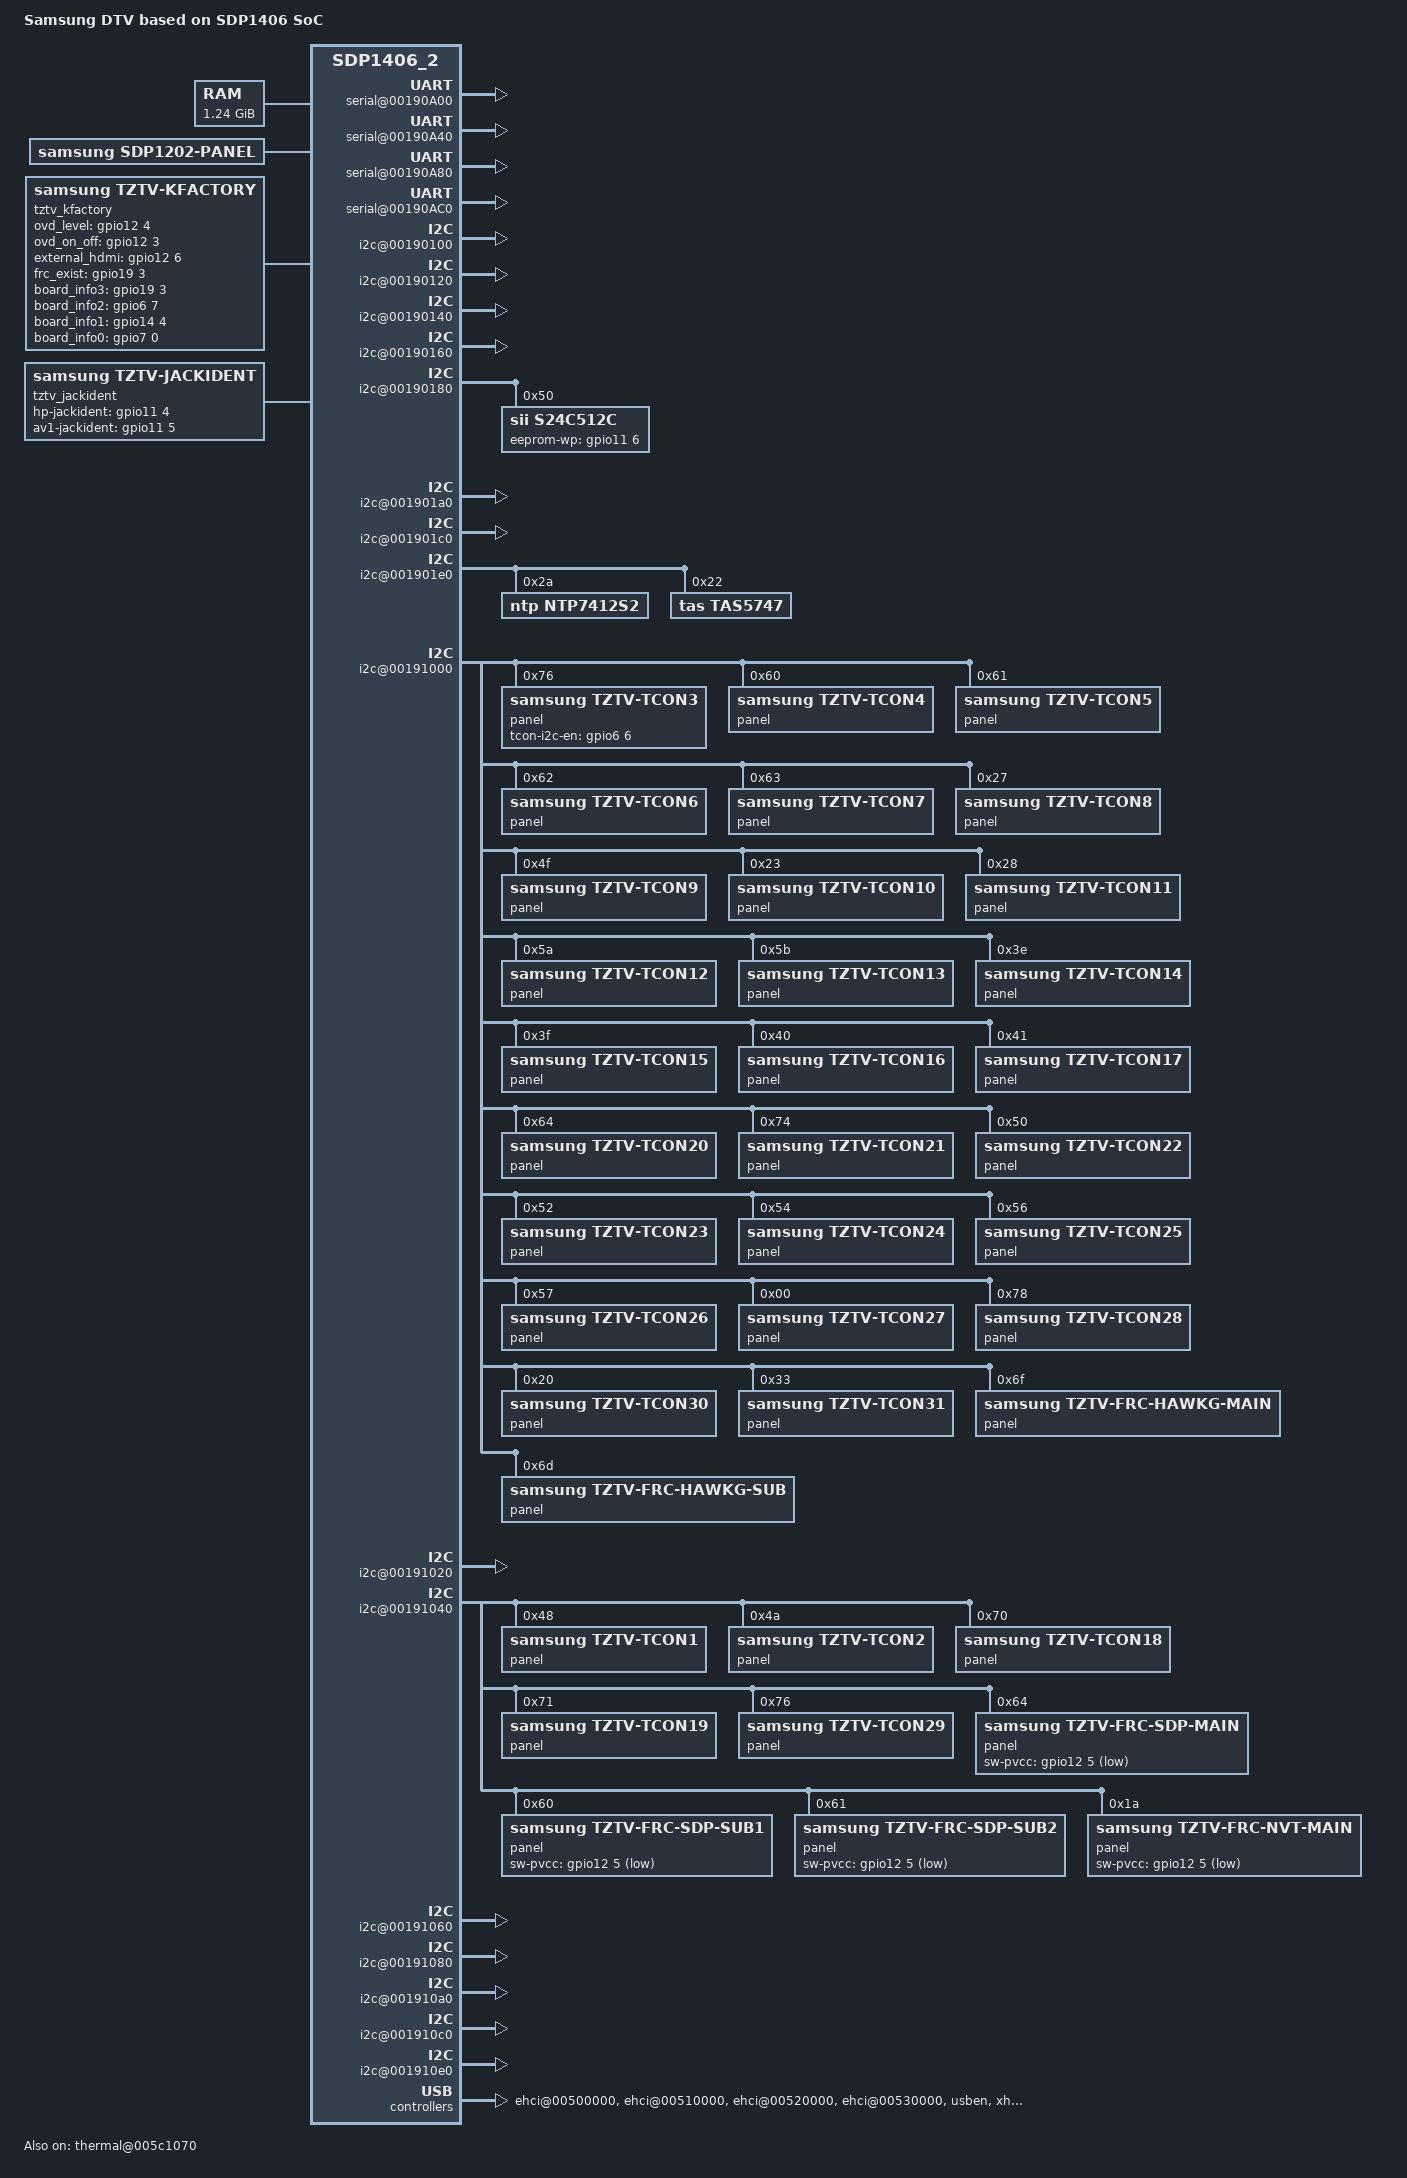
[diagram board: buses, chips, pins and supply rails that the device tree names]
/*
 * Copyright (C) 2014 Samsung Electronics Co.Ltd
 *
 * This program is free software; you can redistribute it and/or modify
 * it under the terms of the GNU General Public License version 2 as
 * published by the Free Software Foundation.
 */

/dts-v1/;
#include "sdp1406.dtsi"

/ {
	model = "Samsung DTV based on SDP1406 SoC";
	compatible = "samsung,dtv", "samsung,sdp1406", "samsung,sdp1406_2";

	memory {
		device_type = "memory";
		reg =  <0x20000000 0x10800000>, <0x40000000 0xC000000>, <0x82800000 0x33000000>;
	};

	chosen {
		bootargs = __STR__(dtsversion=__DTS_VERSION__ root=/dev/mmcblk0p22 init=/sbin/init rootfstype=vdfs RO_PARAM console=ttyS0,115200N8 SELP_ENABLE=00000000 rootwait no_console_suspend earlyprintk sdp_sparsemem vmalloc=550M QUIET_PARAM TRACING_PARAM ROOT_PARAM);
	};

	fixed-rate-clocks {
		fin {
			compatible = "samsung,sdp-clock-fin";
			clock-frequency = <24576000>;
		};
	};

	mmc {
		hs200;
		hs200-tuning;
//		hs400;
	};

	serial@00190A00 {
		status = "okay";
	};

	serial@00190A40 {
		status = "okay";
	};

	serial@00190A80 {
		status = "okay";
	};

	serial@00190AC0 {
		compatible = "samsung,sdp1304-uart-micom";
		status = "okay";
	};

	pinctrl{
		compatible = "samsung,sdp-pinctrl";
		reg = <0x005C1000 0x230>;
		start-offset = <0x118>;
		nr-banks = <23>;
		model-sel = <1>;
	};

	i2c@00190100 {
		status = "okay";
		samsung,i2c-sda-delay = <1>;
		samsung,i2c-max-bus-freq = <400000>;
		samsung,i2c-irq-status-reg = <0x001901f4>;
		samsung,i2c-cpu-affinity = <3>;
	};

	i2c@00190120 {
		status = "okay";
		samsung,i2c-sda-delay = <1>;
		samsung,i2c-max-bus-freq = <400000>;
		samsung,i2c-irq-status-reg = <0x001901f4>;
		samsung,i2c-cpu-affinity = <3>;
	};

	i2c@00190140 {
		status = "okay";
		samsung,i2c-sda-delay = <1>;
		samsung,i2c-max-bus-freq = <400000>;
		samsung,i2c-irq-status-reg = <0x001901f4>;
		samsung,i2c-cpu-affinity = <3>;
	};

	i2c@00190160 {
		status = "okay";
		samsung,i2c-sda-delay = <1>;
		samsung,i2c-max-bus-freq = <400000>;
		samsung,i2c-irq-status-reg = <0x001901f4>;
		samsung,i2c-cpu-affinity = <3>;
	};

	i2c@00190180 {
		status = "okay";
		samsung,i2c-sda-delay = <1>;
		samsung,i2c-max-bus-freq = <400000>;
		samsung,i2c-irq-status-reg = <0x001901f4>;
		samsung,i2c-cpu-affinity = <3>;
                s24c512c@50 {
                        compatible = "sii,s24c512c";
                        reg = <0x50>;
                        samsung,eeprom-wp = <&gpio11 6 0>;
                };
	};

	i2c@001901a0 {
		status = "okay";
		samsung,i2c-sda-delay = <1>;
		samsung,i2c-max-bus-freq = <400000>;
		samsung,i2c-irq-status-reg = <0x001901f4>;
		samsung,i2c-cpu-affinity = <3>;
	};

	i2c@001901c0 {
		status = "okay";
		samsung,i2c-sda-delay = <1>;
		samsung,i2c-max-bus-freq = <400000>;
		samsung,i2c-irq-status-reg = <0x001901f4>;
		samsung,i2c-cpu-affinity = <3>;
	};

	i2c@001901e0 {
		status = "okay";
		samsung,i2c-sda-delay = <1>;
		samsung,i2c-max-bus-freq = <400000>;
		samsung,i2c-irq-status-reg = <0x001901f4>;
		samsung,i2c-cpu-affinity = <3>;

		ntp7412s2@2A {
			compatible = "ntp,ntp7412s2";
			reg = <0x2A>;
		};

		tas5747@22 {
			compatible = "tas,tas5747";
			reg = <0x22>;
		};
	};

	i2c@00191000 {
		status = "okay";
		samsung,i2c-sda-delay = <1>;
		samsung,i2c-max-bus-freq = <400000>;
		samsung,i2c-irq-status-reg = <0x001910f4>;
		samsung,i2c-cpu-affinity = <3>;
		/* panel 0xEC */
		panel@76 {
			compatible = "samsung,tztv-tcon3";
			samsung,tcon-i2c-en = <&gpio6 6 0>;
			reg = <0x76>;
		};

		/* panel 0xC0 */
		panel@60 {
			compatible = "samsung,tztv-tcon4";
			reg = <0x60>;
		};

		/* panel 0xC2 */
		panel@61 {
			compatible = "samsung,tztv-tcon5";
			reg = <0x61>;
		};

		/* panel 0xC4 */
		panel@62 {
			compatible = "samsung,tztv-tcon6";
			reg = <0x62>;
		};

		/* panel 0xC6 */
		panel@63 {
			compatible = "samsung,tztv-tcon7";
			reg = <0x63>;
		};

		/* panel 0x4E */
		panel@27 {
			compatible = "samsung,tztv-tcon8";
			reg = <0x27>;
		};

		/* panel 0x9E */
		panel@4F {
			compatible = "samsung,tztv-tcon9";
			reg = <0x4F>;
		};

		/* panel 0x46 */
		panel@23 {
			compatible = "samsung,tztv-tcon10";
			reg = <0x23>;
		};

		/* panel 0x50 */
		panel@28 {
			compatible = "samsung,tztv-tcon11";
			reg = <0x28>;
		};

		/* panel 0xB4 */
		panel@5A {
			compatible = "samsung,tztv-tcon12";
			reg = <0x5A>;
		};

		/* panel 0xB6 */
		panel@5B {
			compatible = "samsung,tztv-tcon13";
			reg = <0x5B>;
		};

		/* panel 0x7C */
		panel@3E {
			compatible = "samsung,tztv-tcon14";
			reg = <0x3E>;
		};

		/* panel 0x7E */
		panel@3F {
			compatible = "samsung,tztv-tcon15";
			reg = <0x3F>;
		};

		/* panel 0x80 */
		panel@40 {
			compatible = "samsung,tztv-tcon16";
			reg = <0x40>;
		};

		/* panel 0x82 */
		panel@41 {
			compatible = "samsung,tztv-tcon17";
			reg = <0x41>;
		};

		/* panel 0xC8 */
		panel@64 {
			compatible = "samsung,tztv-tcon20";
			reg = <0x64>;
		};

		/* panel 0xE8 */
		panel@74 {
			compatible = "samsung,tztv-tcon21";
			reg = <0x74>;
		};

		/* panel 0xA0 */
		panel@50 {
			compatible = "samsung,tztv-tcon22";
			reg = <0x50>;
		};

		/* panel 0xA4 */
		panel@52 {
			compatible = "samsung,tztv-tcon23";
			reg = <0x52>;
		};

		/* panel 0xA8 */
		panel@54 {
			compatible = "samsung,tztv-tcon24";
			reg = <0x54>;
		};

		/* panel 0xAC */
		panel@56 {
			compatible = "samsung,tztv-tcon25";
			reg = <0x56>;
		};

		/* panel 0xAE */
		panel@57 {
			compatible = "samsung,tztv-tcon26";
			reg = <0x57>;
		};

		/* panel 0x00 */
		panel@00 {
			compatible = "samsung,tztv-tcon27";
			reg = <0x00>;
		};

		/* panel 0xF0 */
		panel@78 {
			compatible = "samsung,tztv-tcon28";
			reg = <0x78>;
		};

		/* panel 0x40 */
		panel@20 {
			compatible = "samsung,tztv-tcon30";
			reg = <0x20>;
		};

		/* panel 0x66 */
		panel@33 {
			compatible = "samsung,tztv-tcon31";
			reg = <0x33>;
		};

		/* panel 0xDE */
		panel@6F {
			compatible = "samsung,tztv-frc-hawkg-main";
			reg = <0x6F>;
		};

		/* panel 0xDA */
		panel@6D {
			compatible = "samsung,tztv-frc-hawkg-sub";
			reg = <0x6D>;
		};
	};

	i2c@00191020 {
		status = "okay";
		samsung,i2c-sda-delay = <1>;
		samsung,i2c-max-bus-freq = <400000>;
		samsung,i2c-irq-status-reg = <0x001910f4>;
		samsung,i2c-pad-enable = <0x005C1040 0x800000>;
		samsung,i2c-cpu-affinity = <3>;
	};

	i2c@00191040 {
		status = "okay";
		samsung,i2c-sda-delay = <1>;
		samsung,i2c-max-bus-freq = <400000>;
		samsung,i2c-irq-status-reg = <0x001910f4>;
	//	samsung,i2c-pad-enable = <0x10030000 0x80000000>;// Mux HS
		samsung,i2c-cpu-affinity = <3>;

		/* panel 0x90 */
		panel@48 {
			compatible = "samsung,tztv-tcon1";
			reg = <0x48>;
		};

		/* panel 0x94 */
		panel@4A {
			compatible = "samsung,tztv-tcon2";
			reg = <0x4A>;
		};

		/* panel 0xE0 */
		panel@70 {
			compatible = "samsung,tztv-tcon18";
			reg = <0x70>;
		};

		/* panel 0xE2 */
		panel@71 {
			compatible = "samsung,tztv-tcon19";
			reg = <0x71>;
		};

		/* panel 0xEC DUAL */
		panel@76 {
			compatible = "samsung,tztv-tcon29";
			reg = <0x76>;
		};

		/* panel C8 */
		panel@64 {
			compatible = "samsung,tztv-frc-sdp-main";
			samsung,sw-pvcc = <&gpio12 5 1>;
			reg = <0x64>;
		};

		/* panel C0 SUB */
		panel@60 {
			compatible = "samsung,tztv-frc-sdp-sub1";
			samsung,sw-pvcc = <&gpio12 5 1>;
			reg = <0x60>;
		};

		/* panel C2 SUB */
		panel@61 {
			compatible = "samsung,tztv-frc-sdp-sub2";
			samsung,sw-pvcc = <&gpio12 5 1>;
			 reg = <0x61>;
		};

		/* panel 34 */
		panel@1A {
			compatible = "samsung,tztv-frc-nvt-main";
			samsung,sw-pvcc = <&gpio12 5 1>;
			 reg = <0x1A>;
		};
	};

	i2c@00191060 {
		status = "okay";
		samsung,i2c-sda-delay = <1>;
		samsung,i2c-max-bus-freq = <400000>;
		samsung,i2c-irq-status-reg = <0x001910f4>;
		samsung,i2c-pad-enable = <0x005C1040 0x1000000>;
		samsung,i2c-cpu-affinity = <3>;
	};

	i2c@00191080 {
		status = "okay";
		samsung,i2c-sda-delay = <1>;
		samsung,i2c-max-bus-freq = <400000>;
		samsung,i2c-irq-status-reg = <0x001910f4>;
		samsung,i2c-pad-enable = <0x005C1040 0x2000000>;
		samsung,i2c-cpu-affinity = <3>;
	};

	i2c@001910a0 {
		status = "okay";
		samsung,i2c-sda-delay = <1>;
		samsung,i2c-max-bus-freq = <400000>;
		samsung,i2c-irq-status-reg = <0x001910f4>;
		samsung,i2c-cpu-affinity = <3>;
	};

	i2c@001910c0 {
		status = "okay";
		samsung,i2c-sda-delay = <1>;
		samsung,i2c-max-bus-freq = <400000>;
		samsung,i2c-irq-status-reg = <0x001910f4>;
		samsung,i2c-pad-enable = <0x005C1044 0x8000000>;
		samsung,i2c-cpu-affinity = <3>;
	};

	i2c@001910e0 {
		status = "okay";
		samsung,i2c-sda-delay = <1>;
		samsung,i2c-max-bus-freq = <400000>;
		samsung,i2c-irq-status-reg = <0x001910f4>;
		samsung,i2c-pad-enable = <0x005C1044 0x10000000>;
		samsung,i2c-cpu-affinity = <3>;

	};

	panel: panel {
		compatible = "samsung,sdp1202-panel";

	};

	dummy_panel {
		compatible = "dummy_panel";

		panel = <&panel>;

		display-timings {
			native-mode = <&timing0>;

			timing0: timing-0 {
				 clock-frequency = <0>;
				 hactive = <1920>;
				 vactive = <1080>;
				 hfront-porch = <0>;
				 hback-porch = <0>;
				 hsync-len = <0>;
				 vfront-porch = <0>;
				 vback-porch = <0>;
				 vsync-len = <0>;
			};
		};
	};

	ehci@00500000 {
		status = "okay";
	/*	samsung,sw-reset = <0x005C0000 0xE4 0x1000>;
		samsung,ehci-gpr_reg = <0x00540000 0x04 0x7000>;
		samsung,ehci-gpr_reg1 = <0x00540000 0x0C 0x100C0>;
		samsung,sw-reset-release = <0x005C0000 0xE4 0x1000>;*/
	};

        ehci@00510000 {
		status = "okay";
	/*	samsung,sw-reset = <0x005C0000 0xE4 0x2000>;
		samsung,ehci-gpr_reg = <0x00540000 0x18 0x7000>;
		samsung,ehci-gpr_reg1 = <0x00540000 0x20 0x100C0>;
		samsung,sw-reset-release = <0x005C0000 0xE4 0x2000>;*/
	};

	ehci@00520000 {
		status = "okay";
	/*	samsung,sw-reset = <0x005C0000 0xE4 0x4000>;
		samsung,ehci-gpr_reg = <0x00540000 0x2c 0x7000>;
		samsung,ehci-gpr_reg1 = <0x00540000 0x34 0x100C0>;
		samsung,sw-reset-release = <0x005C0000 0xE4 0x4000>;*/
	};

	ehci@00530000 {
		status = "okay";
	/*	samsung,sw-reset = <0x005C0000 0xE4 0x8000>;
		samsung,ehci-gpr_reg = <0x00540000 0x40 0x7000>;
		samsung,ehci-gpr_reg1 = <0x00540000 0x48 0x100C0>;
		samsung,sw-reset-release = <0x005C0000 0xE4 0x8000>;*/
	};

	usben {
		status = "okay";
		samsung,usb-enable = <&gpio12 7 0>;
	};

	xhci@00400000 {
		status = "okay";
	};


	ohci@00508000 {
		status = "okay";
	};

	ohci@00518000 {
		status = "okay";
	};

	ohci@00528000 {
		status = "okay";
	};

	ohci@00538000 {
		status = "okay";
	};

	thermal@005c1070 {
		status = "okay";
		compatible = "samsung,sdp-thermal";

		reg = <0x005c1070 0x30>;

		sensor_id = <0>;

		start_cold_throttle	= <40>;
		stop_cold_throttle	= <45>;
		stop_1st_throttle	= <102>;
		start_1st_throttle	= <110>;
		stop_2nd_throttle	= <112>;
		start_2nd_throttle	= <118>;
		stop_3rd_throttle	= <120>;
		start_3rd_throttle	= <125>;
		start_3rd_hotplug	= <130>;

		cpu_limit_1st_throttle	= <1000000>;
		cpu_limit_2nd_throttle	= <700000>;
		cpu_limit_3rd_throttle	= <100000>;

		gpu_limit_1st_throttle	= <185000>;
		gpu_limit_2nd_throttle	= <185000>;
		gpu_limit_3rd_throttle	= <185000>;

		log_file_path = "/tmp/ThermalThrottle.txt";
	};

	sdp_mfc@0x00a40000 {
		samsung,bus-mode = "2bus-a";
		samsung,fw-name = "sdp_mfc/ucode-mfc.fw";
		samsung,fw-size = <0x300000>;
		xmif_a_reg = <0x00F10700>;
		xmif_b_reg = <0x00F20700>;
		xmif_c_reg = <0x00F30700>;
	};

	sdp_hen@0x00ac0000 {
		samsung,fw-name = "sdp_hen/ucode-hen.fw";
		samsung,fw-size = <0x100000>;
		xmif_a_reg = <0x00F10700>;
		xmif_b_reg = <0x00F20700>;
		xmif_c_reg = <0x00F30700>;
	};

	sdp_hevc@00b40000 {
		samsung,fw-name = "sdp_hevc/ucode-hevc.fw";
		samsung,fw-size = <0x200000>;
	};

	dvb {
		compatible = "samsung,sdp-dvb";
	};

	tztv_tuner {
		compatible = "samsung,tztv-tuner";
	};

	tztv_kfactory {
		compatible = "samsung,tztv-kfactory";
		samsung,ovd_level = <&gpio12 4 0>;
		samsung,ovd_on_off = <&gpio12 3 0>;
		samsung,external_hdmi = <&gpio12 6 0>;
		samsung,frc_exist = <&gpio19 3 0>;
		samsung,board_info3 = <&gpio19 3 0>;
		samsung,board_info2 = <&gpio6 7 0>;
		samsung,board_info1 = <&gpio14 4 0>;
		samsung,board_info0 = <&gpio7 0 0>;
		samsung,board_info_ocm = <&gpio13 0 0>;
		samsung,board_info_boston = <&gpio12 6 0>;
		samsung,usb_enable = <&gpio12 7 0>;
		samsung,board_info_retimer = <&gpio13 6 0>;
		samsung,ident_cam1 = <&gpio11 2 0>;
	};

	tztv_jackident {
		compatible = "samsung,tztv-jackident";
		samsung,hp-jackident = <&gpio11 4 0>;
		samsung,av1-jackident = <&gpio11 5 0>;
	};

	sdp_uddec@00b00000 {
		samsung,bus-mode = "2bus-a";
		samsung,dram-base-a = <0x6b400000>;
		samsung,dram-base-b = <0x23000000>;
	};

	tps54627@7b {
		compatible = "regulator-sdpmicom";

		regulator-name = "CPU_PW";
		regulator-min-microvolt = <1023734>;
		regulator-max-microvolt = <1152600>;
		regulator-always-on;
		regulator-boot-on;

		nr-gpios = <2>;
		default-state = <0>;
		cmd-addr = <0x7b>;
		states = <1023734 3
			1053081 2
			1101280 1
			1152600 0>;
	};

	aoz1267@7a {
		compatible = "regulator-sdpmicom";

		regulator-name = "CORE_PW";
		regulator-min-microvolt = <1025297>;
		regulator-max-microvolt = <1153333>;
		regulator-always-on;
		regulator-boot-on;

		nr-gpios = <2>;
		default-state = <0>;
		cmd-addr = <0x7a>;
		states = <1025297 3
			1051002 2
			1104439 1
			1153333 0>;
	};

	sdp_mmap {
		compatible = "samsung,sdp-mmap";

		/* DDR B */
		samsung,se-tz = <0x0 0x30800000 0x200000>;
		samsung,mfc-a = <0x0 0x30A00000 0xA800000>;
		samsung,dp0 = <0x0 0x3B200000 0x2A40000>;
		samsung,dp2 = <0x0 0x3DC40000 0x2080000>;
		samsung,align0 = <0x0 0x3FCC0000 0x240000>;
		samsung,str = <0x0 0x3FF00000 0x100000>;

		/* DDR C */
		samsung,mfc-b = <0x0 0x4C000000 0xB780000>;
		samsung,dp1 = <0x0 0x57780000 0x5AC0000>;
		samsung,dp3 = <0x0 0x5D240000 0x1280000>;
		samsung,dp-oce = <0x0 0x5E4C0000 0x40000>;
		samsung,dp-ttx-vbi = <0x0 0x5E500000 0x40000>;
		samsung,avd = <0x0 0x5E540000 0x600000>;
		samsung,tsd = <0x0 0x5EB40000 0x300000>;
		samsung,ace-scaler = <0x0 0x5EE40000 0x0>;
		samsung,pvr = <0x0 0x5EE40000 0x700000>;
		samsung,emergency_log = <0x0 0x5F540000 0x40000>;
		samsung,dp-vt-y = <0x0 0x5F580000 0x400000>;
		samsung,dp-vt-c = <0x0 0x5F980000 0x200000>;
		samsung,align1 = <0x0 0x5FB80000 0x480000>;

		/* DDR A */
		samsung,dp-cw-y = <0x0 0x82600000 0x200000>;
		samsung,align3 = <0x0 0x82800000 0x0>;
		samsung,gfx0 = <0x0 0xB5800000 0x1000000>;
		samsung,gfx2 = <0x0 0xB6800000 0x0>;
		samsung,cursor = <0x0 0xB6800000 0x180000>;
		samsung,gen-ga = <0x0 0xB6980000 0x0>;
		samsung,gfx-capture = <0x0 0xB6980000 0x0>;
		samsung,hen-a = <0x0 0xB6980000 0x600000>;
		samsung,hen-b = <0x0 0xB6F80000 0x280000>;
		samsung,dp-enc = <0x0 0xB7200000 0x480000>;
		samsung,dp-bg-y = <0x0 0xB7680000 0x0>;
		samsung,dp-bg-c = <0x0 0xB7680000 0x0>;
		samsung,dp-cw-c = <0x0 0xB7680000 0x200000>;
		samsung,gfx1 = <0x0 0xB7880000 0x1000000>;
		samsung,tfc-out-y = <0x0 0xB8880000 0x2E00000>;
		samsung,tfc-out-c = <0x0 0xBB680000 0x2E00000>;
		samsung,tfc-capture-y = <0x0 0xBE480000 0x0>;
		samsung,tfc-capture-c = <0x0 0xBE480000 0x0>;
		samsung,chdec = <0x0 0xBE480000 0x480000>;
		samsung,ae0 = <0x0 0xBE900000 0x1200000>;
		samsung,align2 = <0x0 0xBFB00000 0x500000>;
	};
};
